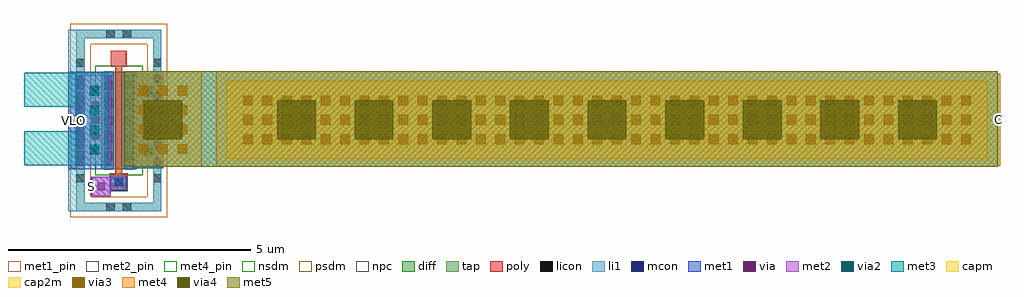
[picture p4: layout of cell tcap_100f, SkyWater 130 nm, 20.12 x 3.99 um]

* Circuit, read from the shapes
.subckt tcap_100f C S VLO
XM1 n1 S VLO VLO sky130_fd_pr__nfet_01v8 w=2 l=0.15
XC2 C n1 sky130_fd_pr__cap_mim_m3_1 w=15.7 l=1.6
XC3 n1 C sky130_fd_pr__cap_mim_m3_2 w=15.7 l=1.6
.ends

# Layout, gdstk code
import gdstk
lib = gdstk.Library(unit=1e-6, precision=1e-09)
def R(c, l, rs):  # rectangles x0, y0, x1, y1
    for r in rs: c.add(gdstk.rectangle(r[:2], r[2:], *l))
def A(c, l, x, y, w, h, nx, ny, dx, dy):  # array of equal rectangles
    R(c, l, [(x+i*dx, y+j*dy, x+i*dx+w, y+j*dy+h) for i in range(nx) for j in range(ny)])
diff = (65, 20)
tap = (65, 44)
poly = (66, 20)
licon = (66, 44)
li1 = (67, 20)
mcon = (67, 44)
met1_pin = (68, 16)
met1 = (68, 20)
via = (68, 44)
met2_pin = (69, 16)
met2 = (69, 20)
via2 = (69, 44)
met3 = (70, 20)
via3 = (70, 44)
met4_pin = (71, 16)
met4 = (71, 20)
via4 = (71, 44)
met5 = (72, 20)
capm = (89, 44)
nsdm = (93, 44)
psdm = (94, 20)
npc = (95, 20)
cap2m = (97, 44)

tcap_100f = lib.new_cell('tcap_100f')
R(tcap_100f, diff, [(0.425,0.785,1.155,2.785)])
R(tcap_100f, tap, [(-0.085,-0.085,1.665,0.085), (-0.085,0.085,0.085,3.485), (1.495,0.085,1.665,3.485), (-0.085,3.485,1.665,3.655)])
R(tcap_100f, poly, [(0.625,0.345,0.955,0.675), (0.715,0.675,0.865,2.895), (0.625,2.895,0.955,3.225)])
A(tcap_100f, licon, -0.085, 0.51, 0.17, 0.17, 1, 8, 0, 0.34)
A(tcap_100f, licon, 1.495, 0.51, 0.17, 0.17, 1, 8, 0, 0.34)
A(tcap_100f, licon, 0.485, 0.85, 0.17, 0.17, 1, 6, 0, 0.34)
A(tcap_100f, licon, 0.925, 0.85, 0.17, 0.17, 1, 6, 0, 0.34)
R(tcap_100f, licon, [(0.535,-0.085,0.705,0.085), (0.875,-0.085,1.045,0.085), (0.705,0.425,0.875,0.595), (0.535,3.485,0.705,3.655), (0.875,3.485,1.045,3.655)])
R(tcap_100f, li1, [(-0.255,-0.085,1.665,0.085), (-0.255,0.085,0.085,3.485), (1.495,0.085,1.665,3.485), (0.625,0.425,0.955,0.595), (0.485,0.765,0.655,2.805), (0.925,0.765,1.095,2.805), (-0.255,3.485,1.665,3.655)])
A(tcap_100f, mcon, -0.085, 0.98, 0.17, 0.17, 1, 5, 0, 0.36)
A(tcap_100f, mcon, 0.485, 0.98, 0.17, 0.17, 1, 5, 0, 0.36)
A(tcap_100f, mcon, 0.925, 0.98, 0.17, 0.17, 1, 5, 0, 0.36)
R(tcap_100f, mcon, [(0.705,0.425,0.875,0.595)])
R(tcap_100f, met1_pin, [(-0.2,0.8,-0.1,2.75)])
R(tcap_100f, met1, [(0.225,0.225,0.625,0.345), (0.225,0.345,0.955,0.625), (-0.255,0.785,0.685,2.785), (0.895,0.785,1.125,0.8), (0.895,0.8,1.7,2.75), (0.895,2.75,1.125,2.785)])
A(tcap_100f, via, 1.325, 1.06, 0.15, 0.15, 1, 5, 0, 0.32)
A(tcap_100f, via, 0.235, 1.075, 0.15, 0.15, 1, 5, 0, 0.32)
R(tcap_100f, via, [(0.35,0.35,0.5,0.5)])
R(tcap_100f, met2_pin, [(0.2,0.25,0.25,0.6)])
R(tcap_100f, met2, [(0.225,0.225,0.625,0.25), (0.2,0.25,0.625,0.6), (0.225,0.6,0.625,0.625), (1.1,0.8,1.7,2.75), (-0.015,0.865,0.635,2.715)])
A(tcap_100f, via2, 1.3, 1.075, 0.2, 0.2, 1, 4, 0, 0.4)
A(tcap_100f, via2, 0.185, 1.09, 0.2, 0.2, 1, 4, 0, 0.4)
R(tcap_100f, met3, [(1.1,0.8,1.7,0.83), (0.9,0.83,18.9,2.8), (-1.165,0.865,0.585,1.565), (-0.015,1.565,0.585,2.065), (-1.165,2.065,0.585,2.765)])
A(tcap_100f, via3, 1.2, 1.1, 0.2, 0.2, 3, 4, 0.4, 0.4)
A(tcap_100f, via3, 3.35, 1.3, 0.2, 0.2, 38, 3, 0.4, 0.4)
R(tcap_100f, met4_pin, [(18.9,0.85,18.95,2.75)])
R(tcap_100f, met4, [(0.9,0.83,2.5,2.8), (2.8,0.83,18.9,0.85), (2.8,0.85,18.95,2.75), (2.8,2.75,18.9,2.8)])
A(tcap_100f, via4, 4.05, 1.4, 0.8, 0.8, 9, 1, 1.6, 0)
R(tcap_100f, via4, [(1.3,1.4,2.1,2.2)])
R(tcap_100f, met5, [(0.9,0.83,18.9,2.8)])
R(tcap_100f, capm, [(3,1,18.7,2.6)])
R(tcap_100f, nsdm, [(0.3,0.66,1.28,2.91)])
R(tcap_100f, psdm, [(-0.21,-0.21,1.79,0.21), (-0.21,0.21,0.21,3.36), (1.37,0.21,1.79,3.36), (-0.21,3.36,1.79,3.78)])
R(tcap_100f, npc, [(0.605,0.325,0.975,0.695)])
R(tcap_100f, cap2m, [(3,1,18.7,2.6)])
tcap_100f.add(gdstk.Label('VLO', (-0.15,1.775), layer=68, texttype=16))
tcap_100f.add(gdstk.Label('S', (0.225,0.425), layer=69, texttype=16))
tcap_100f.add(gdstk.Label('C', (18.925,1.8), layer=71, texttype=16))

lib.write_gds('tcap_100f.gds')
